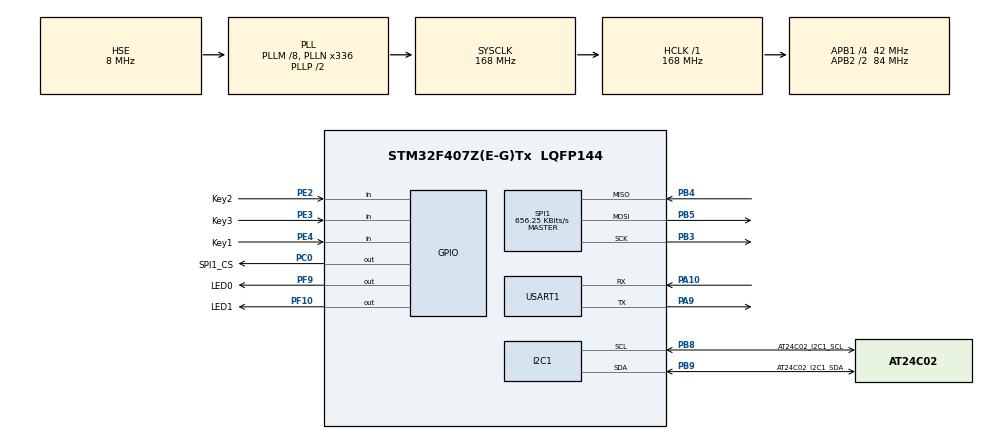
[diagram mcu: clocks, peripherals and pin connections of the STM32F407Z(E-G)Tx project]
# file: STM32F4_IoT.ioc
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Mcu.Family=STM32F4
Mcu.Name=STM32F407Z(E-G)Tx
Mcu.Package=LQFP144
NVIC.PriorityGroup=NVIC_PRIORITYGROUP_4
NVIC.USART1_IRQn=true\:0\:0\:false\:false\:true\:true
PA10.Mode=Asynchronous
PA10.Signal=USART1_RX
PA9.Mode=Asynchronous
PA9.Signal=USART1_TX
PB3.Mode=Full_Duplex_Master
PB3.Signal=SPI1_SCK
PB4.Mode=Full_Duplex_Master
PB4.Signal=SPI1_MISO
PB5.Mode=Full_Duplex_Master
PB5.Signal=SPI1_MOSI
PB8.GPIO_Label=AT24C02_I2C1_SCL
PB8.GPIO_PuPdOD=GPIO_PULLUP
PB8.Mode=I2C
PB8.Signal=I2C1_SCL
PB9.GPIO_Label=AT24C02_I2C1_SDA
PB9.GPIO_PuPdOD=GPIO_PULLUP
PB9.Mode=I2C
PB9.Signal=I2C1_SDA
PC0.GPIO_Label=SPI1_CS
PC0.GPIO_PuPd=GPIO_PULLUP
PC0.PinState=GPIO_PIN_RESET
PC0.Signal=GPIO_Output
PE2.GPIO_Label=Key2
PE2.GPIO_PuPd=GPIO_PULLUP
PE2.Signal=GPIO_Input
PE3.GPIO_Label=Key3
PE3.GPIO_PuPd=GPIO_PULLUP
PE3.Signal=GPIO_Input
PE4.GPIO_Label=Key1
PE4.GPIO_PuPd=GPIO_PULLDOWN
PE4.Signal=GPIO_Input
PF10.GPIO_Label=LED1
PF10.GPIO_PuPd=GPIO_PULLUP
PF10.PinState=GPIO_PIN_SET
PF10.Signal=GPIO_Output
PF9.GPIO_Label=LED0
PF9.GPIO_PuPd=GPIO_PULLUP
PF9.GPIO_Speed=GPIO_SPEED_FREQ_LOW
PF9.PinState=GPIO_PIN_SET
PF9.Signal=GPIO_Output
PH0-OSC_IN.Mode=HSE-External-Oscillator
PH0-OSC_IN.Signal=RCC_OSC_IN
PH1-OSC_OUT.Mode=HSE-External-Oscillator
PH1-OSC_OUT.Signal=RCC_OSC_OUT
ProjectManager.HeapSize=0x200
ProjectManager.StackSize=0x400
ProjectManager.TargetToolchain=MDK-ARM V5
RCC.48MHZClocksFreq_Value=84000000
RCC.AHBFreq_Value=168000000
RCC.APB1CLKDivider=RCC_HCLK_DIV4
RCC.APB1Freq_Value=42000000
RCC.APB1TimFreq_Value=84000000
RCC.APB2CLKDivider=RCC_HCLK_DIV2
RCC.APB2Freq_Value=84000000
RCC.APB2TimFreq_Value=168000000
RCC.CortexFreq_Value=168000000
RCC.HCLKFreq_Value=168000000
RCC.HSE_VALUE=8000000
RCC.HSI_VALUE=16000000
RCC.LSE_VALUE=32768
RCC.PLLM=8
RCC.PLLN=336
RCC.PLLSourceVirtual=RCC_PLLSOURCE_HSE
RCC.SYSCLKFreq_VALUE=168000000
RCC.SYSCLKSource=RCC_SYSCLKSOURCE_PLLCLK
RCC.VCOOutputFreq_Value=336000000
SPI1.BaudRatePrescaler=SPI_BAUDRATEPRESCALER_128
SPI1.CLKPhase=SPI_PHASE_2EDGE
SPI1.CLKPolarity=SPI_POLARITY_HIGH
SPI1.CalculateBaudRate=656.25 KBits/s
SPI1.Direction=SPI_DIRECTION_2LINES
SPI1.Mode=SPI_MODE_MASTER
SPI1.VirtualType=VM_MASTER
USART1.VirtualMode=VM_ASYNC
board=custom

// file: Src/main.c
/**
  ******************************************************************************
  * @file           : main.c
  * @brief          : Main program body
  ******************************************************************************
  ** This notice applies to any and all portions of this file
  * that are not between comment pairs USER CODE BEGIN and
  * USER CODE END. Other portions of this file, whether
  * inserted by the user or by software development tools
  * are owned by their respective copyright owners.
  *
  * COPYRIGHT(c) 2018 STMicroelectronics
  *
  * Redistribution and use in source and binary forms, with or without modification,
  * are permitted provided that the following conditions are met:
  *   1. Redistributions of source code must retain the above copyright notice,
  *      this list of conditions and the following disclaimer.
  *   2. Redistributions in binary form must reproduce the above copyright notice,
  *      this list of conditions and the following disclaimer in the documentation
  *      and/or other materials provided with the distribution.
  *   3. Neither the name of STMicroelectronics nor the names of its contributors
  *      may be used to endorse or promote products derived from this software
  *      without specific prior written permission.
  *
  * THIS SOFTWARE IS PROVIDED BY THE COPYRIGHT HOLDERS AND CONTRIBUTORS "AS IS"
  * AND ANY EXPRESS OR IMPLIED WARRANTIES, INCLUDING, BUT NOT LIMITED TO, THE
  * IMPLIED WARRANTIES OF MERCHANTABILITY AND FITNESS FOR A PARTICULAR PURPOSE ARE
  * DISCLAIMED. IN NO EVENT SHALL THE COPYRIGHT HOLDER OR CONTRIBUTORS BE LIABLE
  * FOR ANY DIRECT, INDIRECT, INCIDENTAL, SPECIAL, EXEMPLARY, OR CONSEQUENTIAL
  * DAMAGES (INCLUDING, BUT NOT LIMITED TO, PROCUREMENT OF SUBSTITUTE GOODS OR
  * SERVICES; LOSS OF USE, DATA, OR PROFITS; OR BUSINESS INTERRUPTION) HOWEVER
  * CAUSED AND ON ANY THEORY OF LIABILITY, WHETHER IN CONTRACT, STRICT LIABILITY,
  * OR TORT (INCLUDING NEGLIGENCE OR OTHERWISE) ARISING IN ANY WAY OUT OF THE USE
  * OF THIS SOFTWARE, EVEN IF ADVISED OF THE POSSIBILITY OF SUCH DAMAGE.
  *
  ******************************************************************************
  */
#include "main.h"
#include "stm32f4xx_hal.h"
#include "i2c.h"
#include "spi.h"
#include "usart.h"
#include "gpio.h"

/* USER CODE BEGIN Includes */
#include <string.h>
#include "bsp_led.h"
#include "bsp_eeprom.h"
#include "bsp_spi_flash.h"
#include "bsp_key.h"
/* USER CODE END Includes */

/* USER CODE BEGIN PV */
/* Private variables ---------------------------------------------------------*/
uint16_t USART_RX_Length=0;		//串口接收的长度
uint8_t USART_RXBuffer[256];	//串口接收的数据保存在这
uint8_t USART_RXSingleBuffer;
/* USER CODE END PV */

void SystemClock_Config(void);

/* USER CODE BEGIN PFP */
/* Private function prototypes -----------------------------------------------*/

/* USER CODE END PFP */

/* USER CODE BEGIN 0 */

//串口的重定向
#ifdef __GNUC__
#define PUTCHAR_PROTOTYPE int __io_putchar(int ch)
#else
#define PUTCHAR_PROTOTYPE int fputc(int ch, FILE *f)
#endif
PUTCHAR_PROTOTYPE
{
    //具体哪个串口可以更改huart1为其它串口
    HAL_UART_Transmit(&huart1 , (uint8_t *)&ch, 1 , 0xffff);
    return ch;
}

/* USER CODE END 0 */

int main(void)
{

  /* MCU Configuration----------------------------------------------------------*/

  /* Reset of all peripherals, Initializes the Flash interface and the Systick. */
  HAL_Init();

  /* Configure the system clock */
  SystemClock_Config();

  /* Initialize all configured peripherals */
  MX_GPIO_Init();
  MX_USART1_UART_Init();
  MX_I2C1_Init();
  MX_SPI1_Init();
  /* USER CODE BEGIN 2 */
	HAL_UART_Receive_IT(&huart1,&USART_RXSingleBuffer,1);		//使能串口中断，串口接收的数据存储在USART_RXBuffer里
	printf("******STM32 DevBoard Start!!!******\r\n");
	BSP_W25Qx_Init();
	EEPROM_Test();

  /* USER CODE END 2 */

  /* Infinite loop */
  while (1)
  {

  /* USER CODE BEGIN 3 */
		uint8_t data=0;
		data=Key_Scan(1);

		if(data==1)
		{BSP_LED_Toggle(BSP_LED_0);
			HAL_Delay(200);}
		else if(data==2)
		{BSP_LED_Toggle(BSP_LED_0);
			HAL_Delay(200);}
		else if(data==3)
		{BSP_LED_Toggle(BSP_LED_0);
			HAL_Delay(200);}

  }
  /* USER CODE END 3 */

}

void SystemClock_Config(void)
{

  RCC_OscInitTypeDef RCC_OscInitStruct;
  RCC_ClkInitTypeDef RCC_ClkInitStruct;

    /**Configure the main internal regulator output voltage
    */
  __HAL_RCC_PWR_CLK_ENABLE();

  __HAL_PWR_VOLTAGESCALING_CONFIG(PWR_REGULATOR_VOLTAGE_SCALE1);

    /**Initializes the CPU, AHB and APB busses clocks
    */
  RCC_OscInitStruct.OscillatorType = RCC_OSCILLATORTYPE_HSE;
  RCC_OscInitStruct.HSEState = RCC_HSE_ON;
  RCC_OscInitStruct.PLL.PLLState = RCC_PLL_ON;
  RCC_OscInitStruct.PLL.PLLSource = RCC_PLLSOURCE_HSE;
  RCC_OscInitStruct.PLL.PLLM = 8;
  RCC_OscInitStruct.PLL.PLLN = 336;
  RCC_OscInitStruct.PLL.PLLP = RCC_PLLP_DIV2;
  RCC_OscInitStruct.PLL.PLLQ = 4;
  if (HAL_RCC_OscConfig(&RCC_OscInitStruct) != HAL_OK)
  {
    _Error_Handler(__FILE__, __LINE__);
  }

    /**Initializes the CPU, AHB and APB busses clocks
    */
  RCC_ClkInitStruct.ClockType = RCC_CLOCKTYPE_HCLK|RCC_CLOCKTYPE_SYSCLK
                              |RCC_CLOCKTYPE_PCLK1|RCC_CLOCKTYPE_PCLK2;
  RCC_ClkInitStruct.SYSCLKSource = RCC_SYSCLKSOURCE_PLLCLK;
  RCC_ClkInitStruct.AHBCLKDivider = RCC_SYSCLK_DIV1;
  RCC_ClkInitStruct.APB1CLKDivider = RCC_HCLK_DIV4;
  RCC_ClkInitStruct.APB2CLKDivider = RCC_HCLK_DIV2;

  if (HAL_RCC_ClockConfig(&RCC_ClkInitStruct, FLASH_LATENCY_5) != HAL_OK)
  {
    _Error_Handler(__FILE__, __LINE__);
  }

    /**Configure the Systick interrupt time
    */
  HAL_SYSTICK_Config(HAL_RCC_GetHCLKFreq()/1000);

    /**Configure the Systick
    */
  HAL_SYSTICK_CLKSourceConfig(SYSTICK_CLKSOURCE_HCLK);

  /* SysTick_IRQn interrupt configuration */
  HAL_NVIC_SetPriority(SysTick_IRQn, 0, 0);
}

/* USER CODE BEGIN 4 */

void HAL_UART_RxCpltCallback(UART_HandleTypeDef *huart)
{
  /* Prevent unused argument(s) compilation warning */
  UNUSED(huart);
  /* NOTE: This function Should not be modified, when the callback is needed,
           the HAL_UART_TxCpltCallback could be implemented in the user file
   */
	if(USART_RX_Length >= 255)  //溢出判断
	{
		USART_RX_Length = 0;
		memset(USART_RXBuffer,0x00,sizeof(USART_RXBuffer));
		//printf("数据溢出(大于256)\r\n");
	}
	else
	{
		USART_RXBuffer[USART_RX_Length++] = USART_RXSingleBuffer;   //接收数据转存

		if((USART_RXBuffer[USART_RX_Length-1] == 0x0A)&&(USART_RXBuffer[USART_RX_Length-2] == 0x0D)) //判断结束位
		{
			USART_RX_Length=0;
		}
	}

	HAL_UART_Receive_IT(&huart1, (uint8_t *)&USART_RXSingleBuffer, 1);   //再开启接收中断
}

/* USER CODE END 4 */

void _Error_Handler(char *file, int line)
{
  while(1)
  {
  }
}

/************************ (C) COPYRIGHT STMicroelectronics *****END OF FILE****/
